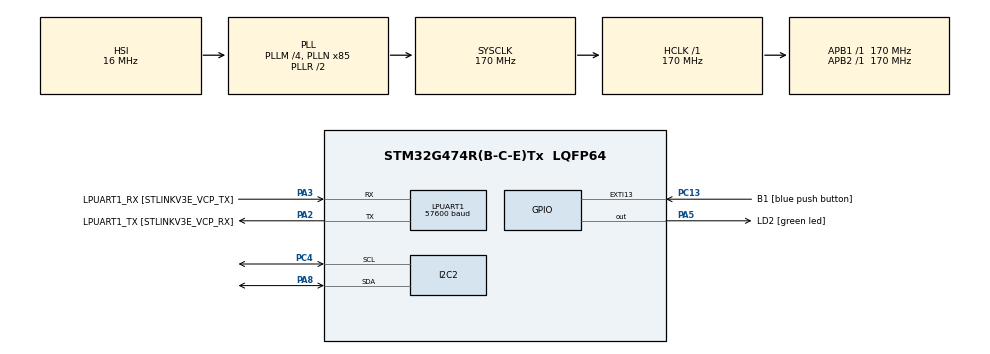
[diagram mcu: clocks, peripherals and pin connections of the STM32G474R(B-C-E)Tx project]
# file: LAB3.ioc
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Dma.I2C2_RX.0.Direction=DMA_PERIPH_TO_MEMORY
Dma.I2C2_RX.0.EventEnable=DISABLE
Dma.I2C2_RX.0.Instance=DMA1_Channel1
Dma.I2C2_RX.0.MemDataAlignment=DMA_MDATAALIGN_BYTE
Dma.I2C2_RX.0.MemInc=DMA_MINC_ENABLE
Dma.I2C2_RX.0.Mode=DMA_NORMAL
Dma.I2C2_RX.0.PeriphDataAlignment=DMA_PDATAALIGN_BYTE
Dma.I2C2_RX.0.PeriphInc=DMA_PINC_DISABLE
Dma.I2C2_RX.0.Polarity=HAL_DMAMUX_REQ_GEN_RISING
Dma.I2C2_RX.0.Priority=DMA_PRIORITY_LOW
Dma.I2C2_RX.0.RequestNumber=1
Dma.I2C2_RX.0.SignalID=NONE
Dma.I2C2_RX.0.SyncEnable=DISABLE
Dma.I2C2_RX.0.SyncPolarity=HAL_DMAMUX_SYNC_NO_EVENT
Dma.I2C2_RX.0.SyncRequestNumber=1
Dma.I2C2_RX.0.SyncSignalID=NONE
Dma.I2C2_TX.1.Direction=DMA_MEMORY_TO_PERIPH
Dma.I2C2_TX.1.EventEnable=DISABLE
Dma.I2C2_TX.1.Instance=DMA1_Channel2
Dma.I2C2_TX.1.MemDataAlignment=DMA_MDATAALIGN_BYTE
Dma.I2C2_TX.1.MemInc=DMA_MINC_ENABLE
Dma.I2C2_TX.1.Mode=DMA_NORMAL
Dma.I2C2_TX.1.PeriphDataAlignment=DMA_PDATAALIGN_BYTE
Dma.I2C2_TX.1.PeriphInc=DMA_PINC_DISABLE
Dma.I2C2_TX.1.Polarity=HAL_DMAMUX_REQ_GEN_RISING
Dma.I2C2_TX.1.Priority=DMA_PRIORITY_LOW
Dma.I2C2_TX.1.RequestNumber=1
Dma.I2C2_TX.1.SignalID=NONE
Dma.I2C2_TX.1.SyncEnable=DISABLE
Dma.I2C2_TX.1.SyncPolarity=HAL_DMAMUX_SYNC_NO_EVENT
Dma.I2C2_TX.1.SyncRequestNumber=1
Dma.I2C2_TX.1.SyncSignalID=NONE
Dma.Request0=I2C2_RX
Dma.Request1=I2C2_TX
I2C2.Timing=0x30A0A7FB
LPUART1.BaudRate=57600
LPUART1.WordLength=UART_WORDLENGTH_8B
Mcu.Family=STM32G4
Mcu.Name=STM32G474R(B-C-E)Tx
Mcu.Package=LQFP64
NVIC.DMA1_Channel1_IRQn=true\:0\:0\:false\:false\:true\:false\:true\:true
NVIC.DMA1_Channel2_IRQn=true\:0\:0\:false\:false\:true\:false\:true\:true
NVIC.EXTI15_10_IRQn=true\:0\:0\:false\:false\:true\:true\:true\:true
NVIC.I2C2_ER_IRQn=true\:0\:0\:false\:false\:true\:true\:true\:true
NVIC.I2C2_EV_IRQn=true\:0\:0\:false\:false\:true\:true\:true\:true
NVIC.PriorityGroup=NVIC_PRIORITYGROUP_4
PA13.GPIO_Label=T_SWDIO
PA13.Mode=Serial_Wire
PA13.Signal=SYS_JTMS-SWDIO
PA14.GPIO_Label=T_SWCLK
PA14.Mode=Serial_Wire
PA14.Signal=SYS_JTCK-SWCLK
PA2.GPIO_Label=LPUART1_TX [STLINKV3E_VCP_RX]
PA2.Mode=Asynchronous
PA2.Signal=LPUART1_TX
PA3.GPIO_Label=LPUART1_RX [STLINKV3E_VCP_TX]
PA3.Mode=Asynchronous
PA3.Signal=LPUART1_RX
PA5.GPIO_Label=LD2 [green led]
PA5.Signal=GPIO_Output
PA8.Mode=I2C
PA8.Signal=I2C2_SDA
PB3.GPIO_Label=T_SWO
PB3.Signal=SYS_JTDO-SWO
PC13.GPIO_Label=B1 [blue push button]
PC13.Signal=GPXTI13
PC14-OSC32_IN.Mode=LSE-External-Oscillator
PC14-OSC32_IN.Signal=RCC_OSC32_IN
PC15-OSC32_OUT.Mode=LSE-External-Oscillator
PC15-OSC32_OUT.Signal=RCC_OSC32_OUT
PC4.Mode=I2C
PC4.Signal=I2C2_SCL
PF0-OSC_IN.Mode=HSE-External-Oscillator
PF0-OSC_IN.Signal=RCC_OSC_IN
PF1-OSC_OUT.Mode=HSE-External-Oscillator
PF1-OSC_OUT.Signal=RCC_OSC_OUT
ProjectManager.HeapSize=0x200
ProjectManager.StackSize=0x400
ProjectManager.TargetToolchain=STM32CubeIDE
RCC.ADC12Freq_Value=170000000
RCC.ADC345Freq_Value=170000000
RCC.AHBFreq_Value=170000000
RCC.APB1Freq_Value=170000000
RCC.APB1TimFreq_Value=170000000
RCC.APB2Freq_Value=170000000
RCC.APB2TimFreq_Value=170000000
RCC.CortexFreq_Value=170000000
RCC.EXTERNAL_CLOCK_VALUE=12288000
RCC.HCLKFreq_Value=170000000
RCC.HSE_VALUE=24000000
RCC.HSI48_VALUE=48000000
RCC.HSI_VALUE=16000000
RCC.PLLM=RCC_PLLM_DIV4
RCC.PLLN=85
RCC.RTCClockSelection=RCC_RTCCLKSOURCE_LSE
RCC.SYSCLKFreq_VALUE=170000000
RCC.SYSCLKSource=RCC_SYSCLKSOURCE_PLLCLK
RCC.USBFreq_Value=170000000
RCC.VCOOutputFreq_Value=340000000
VP_SYS_VS_DBSignals.Mode=DisableDeadBatterySignals
board=NUCLEO-G474RE

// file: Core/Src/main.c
/* USER CODE BEGIN Header */
/**
  ******************************************************************************
  * @file           : main.c
  * @brief          : Main program body
  ******************************************************************************
  * @attention
  *
  * Copyright (c) 2024 STMicroelectronics.
  * All rights reserved.
  *
  * This software is licensed under terms that can be found in the LICENSE file
  * in the root directory of this software component.
  * If no LICENSE file comes with this software, it is provided AS-IS.
  *
  ******************************************************************************
  */
/* USER CODE END Header */
#include "main.h"

/* USER CODE BEGIN Includes */
#include <stdlib.h>
#include <stdio.h>
#include <string.h>
/* USER CODE END Includes */

/* USER CODE BEGIN PD */
#define EEPROM_ADDR 0b10100000
/* USER CODE END PD */

I2C_HandleTypeDef hi2c2;
DMA_HandleTypeDef hdma_i2c2_rx;
DMA_HandleTypeDef hdma_i2c2_tx;

UART_HandleTypeDef hlpuart1;

/* USER CODE BEGIN PV */
uint8_t eepromExampleWriteFlag = 0;
uint8_t eepromExampleReadFlag = 0;
uint8_t Times[1];
uint8_t data[1] = {0xff};
uint8_t start = 0;
uint8_t play = 0;
uint8_t led =0;
uint16_t time, playt, stimer;
uint8_t result[1];
uint16_t rawresult;
uint8_t RxBuffer[6];
uint8_t TxBuffer[6];
/* USER CODE END PV */

void SystemClock_Config(void);
static void MX_GPIO_Init(void);
static void MX_DMA_Init(void);
static void MX_LPUART1_UART_Init(void);
static void MX_I2C2_Init(void);
/* USER CODE BEGIN PFP */
void Start();
void Play();
void EEPROMWriteExample();
void EEPROMReadExample(uint8_t *Rdata, uint16_t len);
void Recieve();
void Transmmit();
/* USER CODE END PFP */

int main(void)
{

  /* MCU Configuration--------------------------------------------------------*/

  /* Reset of all peripherals, Initializes the Flash interface and the Systick. */
  HAL_Init();

  /* Configure the system clock */
  SystemClock_Config();

  /* Initialize all configured peripherals */
  MX_GPIO_Init();
  MX_DMA_Init();
  MX_LPUART1_UART_Init();
  MX_I2C2_Init();

  /* Infinite loop */
  while (1)
  {

    /* USER CODE BEGIN 3 */
	  Transmmit();
	  Recieve();

	  Start();
	  Play();

  }
  /* USER CODE END 3 */
}

void SystemClock_Config(void)
{
  RCC_OscInitTypeDef RCC_OscInitStruct = {0};
  RCC_ClkInitTypeDef RCC_ClkInitStruct = {0};

  /** Configure the main internal regulator output voltage
  */
  HAL_PWREx_ControlVoltageScaling(PWR_REGULATOR_VOLTAGE_SCALE1_BOOST);

  /** Initializes the RCC Oscillators according to the specified parameters
  * in the RCC_OscInitTypeDef structure.
  */
  RCC_OscInitStruct.OscillatorType = RCC_OSCILLATORTYPE_HSI;
  RCC_OscInitStruct.HSIState = RCC_HSI_ON;
  RCC_OscInitStruct.HSICalibrationValue = RCC_HSICALIBRATION_DEFAULT;
  RCC_OscInitStruct.PLL.PLLState = RCC_PLL_ON;
  RCC_OscInitStruct.PLL.PLLSource = RCC_PLLSOURCE_HSI;
  RCC_OscInitStruct.PLL.PLLM = RCC_PLLM_DIV4;
  RCC_OscInitStruct.PLL.PLLN = 85;
  RCC_OscInitStruct.PLL.PLLP = RCC_PLLP_DIV2;
  RCC_OscInitStruct.PLL.PLLQ = RCC_PLLQ_DIV2;
  RCC_OscInitStruct.PLL.PLLR = RCC_PLLR_DIV2;
  if (HAL_RCC_OscConfig(&RCC_OscInitStruct) != HAL_OK)
  {
    Error_Handler();
  }

  /** Initializes the CPU, AHB and APB buses clocks
  */
  RCC_ClkInitStruct.ClockType = RCC_CLOCKTYPE_HCLK|RCC_CLOCKTYPE_SYSCLK
                              |RCC_CLOCKTYPE_PCLK1|RCC_CLOCKTYPE_PCLK2;
  RCC_ClkInitStruct.SYSCLKSource = RCC_SYSCLKSOURCE_PLLCLK;
  RCC_ClkInitStruct.AHBCLKDivider = RCC_SYSCLK_DIV1;
  RCC_ClkInitStruct.APB1CLKDivider = RCC_HCLK_DIV1;
  RCC_ClkInitStruct.APB2CLKDivider = RCC_HCLK_DIV1;

  if (HAL_RCC_ClockConfig(&RCC_ClkInitStruct, FLASH_LATENCY_4) != HAL_OK)
  {
    Error_Handler();
  }
}

static void MX_I2C2_Init(void)
{

  hi2c2.Instance = I2C2;
  hi2c2.Init.Timing = 0x30A0A7FB;
  hi2c2.Init.OwnAddress1 = 0;
  hi2c2.Init.AddressingMode = I2C_ADDRESSINGMODE_7BIT;
  hi2c2.Init.DualAddressMode = I2C_DUALADDRESS_DISABLE;
  hi2c2.Init.OwnAddress2 = 0;
  hi2c2.Init.OwnAddress2Masks = I2C_OA2_NOMASK;
  hi2c2.Init.GeneralCallMode = I2C_GENERALCALL_DISABLE;
  hi2c2.Init.NoStretchMode = I2C_NOSTRETCH_DISABLE;
  if (HAL_I2C_Init(&hi2c2) != HAL_OK)
  {
    Error_Handler();
  }

  /** Configure Analogue filter
  */
  if (HAL_I2CEx_ConfigAnalogFilter(&hi2c2, I2C_ANALOGFILTER_ENABLE) != HAL_OK)
  {
    Error_Handler();
  }

  /** Configure Digital filter
  */
  if (HAL_I2CEx_ConfigDigitalFilter(&hi2c2, 0) != HAL_OK)
  {
    Error_Handler();
  }

}

static void MX_LPUART1_UART_Init(void)
{

  hlpuart1.Instance = LPUART1;
  hlpuart1.Init.BaudRate = 57600;
  hlpuart1.Init.WordLength = UART_WORDLENGTH_8B;
  hlpuart1.Init.StopBits = UART_STOPBITS_1;
  hlpuart1.Init.Parity = UART_PARITY_NONE;
  hlpuart1.Init.Mode = UART_MODE_TX_RX;
  hlpuart1.Init.HwFlowCtl = UART_HWCONTROL_NONE;
  hlpuart1.Init.OneBitSampling = UART_ONE_BIT_SAMPLE_DISABLE;
  hlpuart1.Init.ClockPrescaler = UART_PRESCALER_DIV1;
  hlpuart1.AdvancedInit.AdvFeatureInit = UART_ADVFEATURE_NO_INIT;
  if (HAL_UART_Init(&hlpuart1) != HAL_OK)
  {
    Error_Handler();
  }
  if (HAL_UARTEx_SetTxFifoThreshold(&hlpuart1, UART_TXFIFO_THRESHOLD_1_8) != HAL_OK)
  {
    Error_Handler();
  }
  if (HAL_UARTEx_SetRxFifoThreshold(&hlpuart1, UART_RXFIFO_THRESHOLD_1_8) != HAL_OK)
  {
    Error_Handler();
  }
  if (HAL_UARTEx_DisableFifoMode(&hlpuart1) != HAL_OK)
  {
    Error_Handler();
  }

}

static void MX_DMA_Init(void)
{

  /* DMA controller clock enable */
  __HAL_RCC_DMAMUX1_CLK_ENABLE();
  __HAL_RCC_DMA1_CLK_ENABLE();

  /* DMA interrupt init */
  /* DMA1_Channel1_IRQn interrupt configuration */
  HAL_NVIC_SetPriority(DMA1_Channel1_IRQn, 0, 0);
  HAL_NVIC_EnableIRQ(DMA1_Channel1_IRQn);
  /* DMA1_Channel2_IRQn interrupt configuration */
  HAL_NVIC_SetPriority(DMA1_Channel2_IRQn, 0, 0);
  HAL_NVIC_EnableIRQ(DMA1_Channel2_IRQn);

}

static void MX_GPIO_Init(void)
{
  GPIO_InitTypeDef GPIO_InitStruct = {0};

  /* GPIO Ports Clock Enable */
  __HAL_RCC_GPIOC_CLK_ENABLE();
  __HAL_RCC_GPIOF_CLK_ENABLE();
  __HAL_RCC_GPIOA_CLK_ENABLE();
  __HAL_RCC_GPIOB_CLK_ENABLE();

  /*Configure GPIO pin Output Level */
  HAL_GPIO_WritePin(LD2_GPIO_Port, LD2_Pin, GPIO_PIN_RESET);

  /*Configure GPIO pin : B1_Pin */
  GPIO_InitStruct.Pin = B1_Pin;
  GPIO_InitStruct.Mode = GPIO_MODE_IT_RISING;
  GPIO_InitStruct.Pull = GPIO_NOPULL;
  HAL_GPIO_Init(B1_GPIO_Port, &GPIO_InitStruct);

  /*Configure GPIO pin : LD2_Pin */
  GPIO_InitStruct.Pin = LD2_Pin;
  GPIO_InitStruct.Mode = GPIO_MODE_OUTPUT_PP;
  GPIO_InitStruct.Pull = GPIO_NOPULL;
  GPIO_InitStruct.Speed = GPIO_SPEED_FREQ_LOW;
  HAL_GPIO_Init(LD2_GPIO_Port, &GPIO_InitStruct);

  /* EXTI interrupt init*/
  HAL_NVIC_SetPriority(EXTI15_10_IRQn, 0, 0);
  HAL_NVIC_EnableIRQ(EXTI15_10_IRQn);

}

/* USER CODE BEGIN 4 */
void EEPROMWriteExample() {
	if (eepromExampleWriteFlag && hi2c2.State == HAL_I2C_STATE_READY) {
		HAL_I2C_Mem_Write_IT(&hi2c2, EEPROM_ADDR, 0x2C, I2C_MEMADD_SIZE_16BIT, result, 1);
		eepromExampleWriteFlag = 0;
	}
}

void EEPROMReadExample(uint8_t *Rdata, uint16_t len) {
	if (eepromExampleReadFlag && hi2c2.State == HAL_I2C_STATE_READY) {
		HAL_I2C_Mem_Read_IT(&hi2c2, EEPROM_ADDR, 0x2c, I2C_MEMADD_SIZE_16BIT,Rdata, len);
		eepromExampleReadFlag = 0;
	}
}

void Start()
{
	 if(start)
	 {
		 time = rand() % (8000 - 3000 + 1) + 3000;
		 start = 0;
		 HAL_Delay(time);
		 led = 1;
		 stimer = HAL_GetTick();
	 }
}

void Play()
{
	if(led == 1)
	{
		if(play){
			rawresult = HAL_GetTick() - stimer ;
			if(rawresult > 1000)
			{
				result[0] = 100;
			}
			else
			{
				result[0] = rawresult / 10;
			}
			eepromExampleWriteFlag = 1;
			EEPROMWriteExample();
			play = 0;
			stimer = 0;
			led = 0;
		}
	}
}

void Recieve()
{
	HAL_UART_Receive(&hlpuart1, RxBuffer, 6, 10000);
	if(RxBuffer[0] == 'a')
	{
		start = RxBuffer[1];
	}
	if(RxBuffer[3] == 'b')
	{
		play = RxBuffer[4];
	}

}

void Transmmit()
{
	eepromExampleReadFlag = 1;
	EEPROMReadExample(Times, 1);
	TxBuffer[0] = 'a';
	TxBuffer[1] = led;
	TxBuffer[2] = '\n';
	TxBuffer[3] = 'b';
	TxBuffer[4] = Times[0];
	TxBuffer[5] = '\n';
 	HAL_UART_Transmit(&hlpuart1, TxBuffer, 6, 5000);
}

/* USER CODE END 4 */

void Error_Handler(void)
{
  __disable_irq();
  while (1)
  {
  }
}
